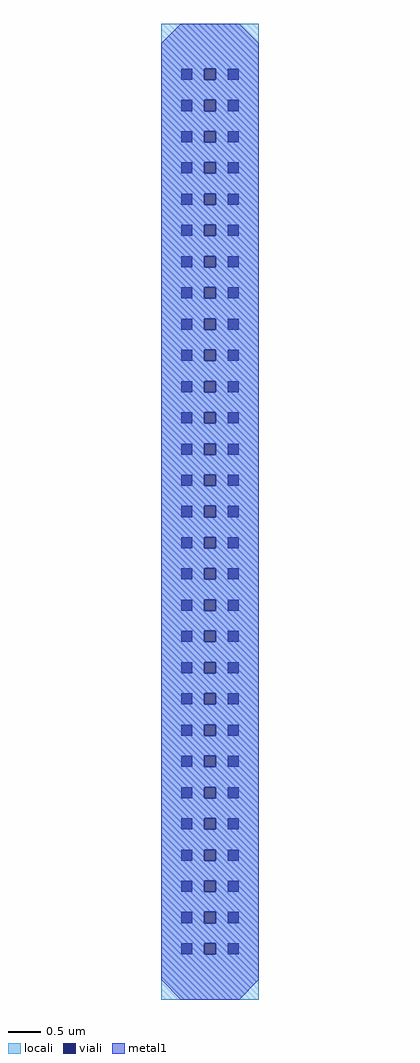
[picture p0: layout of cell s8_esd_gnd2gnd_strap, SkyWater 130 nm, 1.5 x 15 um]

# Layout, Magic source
magic
tech sky130B
magscale 1 2
<< locali >>
rect 0 2861 300 3000
rect 0 2827 133 2861
rect 167 2827 300 2861
rect 0 2765 300 2827
rect 0 2731 133 2765
rect 167 2731 300 2765
rect 0 2669 300 2731
rect 0 2635 133 2669
rect 167 2635 300 2669
rect 0 2573 300 2635
rect 0 2539 133 2573
rect 167 2539 300 2573
rect 0 2477 300 2539
rect 0 2443 133 2477
rect 167 2443 300 2477
rect 0 2381 300 2443
rect 0 2347 133 2381
rect 167 2347 300 2381
rect 0 2285 300 2347
rect 0 2251 133 2285
rect 167 2251 300 2285
rect 0 2189 300 2251
rect 0 2155 133 2189
rect 167 2155 300 2189
rect 0 2093 300 2155
rect 0 2059 133 2093
rect 167 2059 300 2093
rect 0 1997 300 2059
rect 0 1963 133 1997
rect 167 1963 300 1997
rect 0 1901 300 1963
rect 0 1867 133 1901
rect 167 1867 300 1901
rect 0 1805 300 1867
rect 0 1771 133 1805
rect 167 1771 300 1805
rect 0 1709 300 1771
rect 0 1675 133 1709
rect 167 1675 300 1709
rect 0 1613 300 1675
rect 0 1579 133 1613
rect 167 1579 300 1613
rect 0 1517 300 1579
rect 0 1483 133 1517
rect 167 1483 300 1517
rect 0 1421 300 1483
rect 0 1387 133 1421
rect 167 1387 300 1421
rect 0 1325 300 1387
rect 0 1291 133 1325
rect 167 1291 300 1325
rect 0 1229 300 1291
rect 0 1195 133 1229
rect 167 1195 300 1229
rect 0 1133 300 1195
rect 0 1099 133 1133
rect 167 1099 300 1133
rect 0 1037 300 1099
rect 0 1003 133 1037
rect 167 1003 300 1037
rect 0 941 300 1003
rect 0 907 133 941
rect 167 907 300 941
rect 0 845 300 907
rect 0 811 133 845
rect 167 811 300 845
rect 0 749 300 811
rect 0 715 133 749
rect 167 715 300 749
rect 0 653 300 715
rect 0 619 133 653
rect 167 619 300 653
rect 0 557 300 619
rect 0 523 133 557
rect 167 523 300 557
rect 0 461 300 523
rect 0 427 133 461
rect 167 427 300 461
rect 0 365 300 427
rect 0 331 133 365
rect 167 331 300 365
rect 0 269 300 331
rect 0 235 133 269
rect 167 235 300 269
rect 0 173 300 235
rect 0 139 133 173
rect 167 139 300 173
rect 0 0 300 139
<< viali >>
rect 133 2827 167 2861
rect 133 2731 167 2765
rect 133 2635 167 2669
rect 133 2539 167 2573
rect 133 2443 167 2477
rect 133 2347 167 2381
rect 133 2251 167 2285
rect 133 2155 167 2189
rect 133 2059 167 2093
rect 133 1963 167 1997
rect 133 1867 167 1901
rect 133 1771 167 1805
rect 133 1675 167 1709
rect 133 1579 167 1613
rect 133 1483 167 1517
rect 133 1387 167 1421
rect 133 1291 167 1325
rect 133 1195 167 1229
rect 133 1099 167 1133
rect 133 1003 167 1037
rect 133 907 167 941
rect 133 811 167 845
rect 133 715 167 749
rect 133 619 167 653
rect 133 523 167 557
rect 133 427 167 461
rect 133 331 167 365
rect 133 235 167 269
rect 133 139 167 173
<< metal1 >>
tri 0 2940 60 3000 se
rect 60 2940 240 3000
tri 240 2940 300 3000 sw
rect 0 2861 300 2940
rect 0 2827 133 2861
rect 167 2827 300 2861
rect 0 2765 300 2827
rect 0 2731 133 2765
rect 167 2731 300 2765
rect 0 2669 300 2731
rect 0 2635 133 2669
rect 167 2635 300 2669
rect 0 2573 300 2635
rect 0 2539 133 2573
rect 167 2539 300 2573
rect 0 2477 300 2539
rect 0 2443 133 2477
rect 167 2443 300 2477
rect 0 2381 300 2443
rect 0 2347 133 2381
rect 167 2347 300 2381
rect 0 2285 300 2347
rect 0 2251 133 2285
rect 167 2251 300 2285
rect 0 2189 300 2251
rect 0 2155 133 2189
rect 167 2155 300 2189
rect 0 2093 300 2155
rect 0 2059 133 2093
rect 167 2059 300 2093
rect 0 1997 300 2059
rect 0 1963 133 1997
rect 167 1963 300 1997
rect 0 1901 300 1963
rect 0 1867 133 1901
rect 167 1867 300 1901
rect 0 1805 300 1867
rect 0 1771 133 1805
rect 167 1771 300 1805
rect 0 1709 300 1771
rect 0 1675 133 1709
rect 167 1675 300 1709
rect 0 1613 300 1675
rect 0 1579 133 1613
rect 167 1579 300 1613
rect 0 1517 300 1579
rect 0 1483 133 1517
rect 167 1483 300 1517
rect 0 1421 300 1483
rect 0 1387 133 1421
rect 167 1387 300 1421
rect 0 1325 300 1387
rect 0 1291 133 1325
rect 167 1291 300 1325
rect 0 1229 300 1291
rect 0 1195 133 1229
rect 167 1195 300 1229
rect 0 1133 300 1195
rect 0 1099 133 1133
rect 167 1099 300 1133
rect 0 1037 300 1099
rect 0 1003 133 1037
rect 167 1003 300 1037
rect 0 941 300 1003
rect 0 907 133 941
rect 167 907 300 941
rect 0 845 300 907
rect 0 811 133 845
rect 167 811 300 845
rect 0 749 300 811
rect 0 715 133 749
rect 167 715 300 749
rect 0 653 300 715
rect 0 619 133 653
rect 167 619 300 653
rect 0 557 300 619
rect 0 523 133 557
rect 167 523 300 557
rect 0 461 300 523
rect 0 427 133 461
rect 167 427 300 461
rect 0 365 300 427
rect 0 331 133 365
rect 167 331 300 365
rect 0 269 300 331
rect 0 235 133 269
rect 167 235 300 269
rect 0 173 300 235
rect 0 139 133 173
rect 167 139 300 173
rect 0 60 300 139
tri 0 0 60 60 ne
rect 60 0 240 60
tri 240 0 300 60 nw
use L1M1_CDNS_55959141808683  L1M1_CDNS_55959141808683_0
transform 1 0 61 0 1 139
box -12 -6 190 2728
<< properties >>
string GDS_END 42971096
string GDS_FILE $PDKPATH/libs.ref/sky130_fd_io/gds/sky130_fd_io.gds
string GDS_START 42958020
<< end >>

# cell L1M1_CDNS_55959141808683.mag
magic
tech sky130B
<< locali >>
rect 17 1344 36 1361
rect 53 1344 72 1361
rect 0 1313 89 1344
rect 17 1296 36 1313
rect 53 1296 72 1313
rect 0 1265 89 1296
rect 17 1248 36 1265
rect 53 1248 72 1265
rect 0 1217 89 1248
rect 17 1200 36 1217
rect 53 1200 72 1217
rect 0 1169 89 1200
rect 17 1152 36 1169
rect 53 1152 72 1169
rect 0 1121 89 1152
rect 17 1104 36 1121
rect 53 1104 72 1121
rect 0 1073 89 1104
rect 17 1056 36 1073
rect 53 1056 72 1073
rect 0 1025 89 1056
rect 17 1008 36 1025
rect 53 1008 72 1025
rect 0 977 89 1008
rect 17 960 36 977
rect 53 960 72 977
rect 0 929 89 960
rect 17 912 36 929
rect 53 912 72 929
rect 0 881 89 912
rect 17 864 36 881
rect 53 864 72 881
rect 0 833 89 864
rect 17 816 36 833
rect 53 816 72 833
rect 0 785 89 816
rect 17 768 36 785
rect 53 768 72 785
rect 0 737 89 768
rect 17 720 36 737
rect 53 720 72 737
rect 0 689 89 720
rect 17 672 36 689
rect 53 672 72 689
rect 0 641 89 672
rect 17 624 36 641
rect 53 624 72 641
rect 0 593 89 624
rect 17 576 36 593
rect 53 576 72 593
rect 0 545 89 576
rect 17 528 36 545
rect 53 528 72 545
rect 0 497 89 528
rect 17 480 36 497
rect 53 480 72 497
rect 0 449 89 480
rect 17 432 36 449
rect 53 432 72 449
rect 0 401 89 432
rect 17 384 36 401
rect 53 384 72 401
rect 0 353 89 384
rect 17 336 36 353
rect 53 336 72 353
rect 0 305 89 336
rect 17 288 36 305
rect 53 288 72 305
rect 0 257 89 288
rect 17 240 36 257
rect 53 240 72 257
rect 0 209 89 240
rect 17 192 36 209
rect 53 192 72 209
rect 0 161 89 192
rect 17 144 36 161
rect 53 144 72 161
rect 0 113 89 144
rect 17 96 36 113
rect 53 96 72 113
rect 0 65 89 96
rect 17 48 36 65
rect 53 48 72 65
rect 0 17 89 48
rect 17 0 36 17
rect 53 0 72 17
<< viali >>
rect 0 1344 17 1361
rect 36 1344 53 1361
rect 72 1344 89 1361
rect 0 1296 17 1313
rect 36 1296 53 1313
rect 72 1296 89 1313
rect 0 1248 17 1265
rect 36 1248 53 1265
rect 72 1248 89 1265
rect 0 1200 17 1217
rect 36 1200 53 1217
rect 72 1200 89 1217
rect 0 1152 17 1169
rect 36 1152 53 1169
rect 72 1152 89 1169
rect 0 1104 17 1121
rect 36 1104 53 1121
rect 72 1104 89 1121
rect 0 1056 17 1073
rect 36 1056 53 1073
rect 72 1056 89 1073
rect 0 1008 17 1025
rect 36 1008 53 1025
rect 72 1008 89 1025
rect 0 960 17 977
rect 36 960 53 977
rect 72 960 89 977
rect 0 912 17 929
rect 36 912 53 929
rect 72 912 89 929
rect 0 864 17 881
rect 36 864 53 881
rect 72 864 89 881
rect 0 816 17 833
rect 36 816 53 833
rect 72 816 89 833
rect 0 768 17 785
rect 36 768 53 785
rect 72 768 89 785
rect 0 720 17 737
rect 36 720 53 737
rect 72 720 89 737
rect 0 672 17 689
rect 36 672 53 689
rect 72 672 89 689
rect 0 624 17 641
rect 36 624 53 641
rect 72 624 89 641
rect 0 576 17 593
rect 36 576 53 593
rect 72 576 89 593
rect 0 528 17 545
rect 36 528 53 545
rect 72 528 89 545
rect 0 480 17 497
rect 36 480 53 497
rect 72 480 89 497
rect 0 432 17 449
rect 36 432 53 449
rect 72 432 89 449
rect 0 384 17 401
rect 36 384 53 401
rect 72 384 89 401
rect 0 336 17 353
rect 36 336 53 353
rect 72 336 89 353
rect 0 288 17 305
rect 36 288 53 305
rect 72 288 89 305
rect 0 240 17 257
rect 36 240 53 257
rect 72 240 89 257
rect 0 192 17 209
rect 36 192 53 209
rect 72 192 89 209
rect 0 144 17 161
rect 36 144 53 161
rect 72 144 89 161
rect 0 96 17 113
rect 36 96 53 113
rect 72 96 89 113
rect 0 48 17 65
rect 36 48 53 65
rect 72 48 89 65
rect 0 0 17 17
rect 36 0 53 17
rect 72 0 89 17
<< metal1 >>
rect -6 1361 95 1364
rect -6 1344 0 1361
rect 17 1344 36 1361
rect 53 1344 72 1361
rect 89 1344 95 1361
rect -6 1313 95 1344
rect -6 1296 0 1313
rect 17 1296 36 1313
rect 53 1296 72 1313
rect 89 1296 95 1313
rect -6 1265 95 1296
rect -6 1248 0 1265
rect 17 1248 36 1265
rect 53 1248 72 1265
rect 89 1248 95 1265
rect -6 1217 95 1248
rect -6 1200 0 1217
rect 17 1200 36 1217
rect 53 1200 72 1217
rect 89 1200 95 1217
rect -6 1169 95 1200
rect -6 1152 0 1169
rect 17 1152 36 1169
rect 53 1152 72 1169
rect 89 1152 95 1169
rect -6 1121 95 1152
rect -6 1104 0 1121
rect 17 1104 36 1121
rect 53 1104 72 1121
rect 89 1104 95 1121
rect -6 1073 95 1104
rect -6 1056 0 1073
rect 17 1056 36 1073
rect 53 1056 72 1073
rect 89 1056 95 1073
rect -6 1025 95 1056
rect -6 1008 0 1025
rect 17 1008 36 1025
rect 53 1008 72 1025
rect 89 1008 95 1025
rect -6 977 95 1008
rect -6 960 0 977
rect 17 960 36 977
rect 53 960 72 977
rect 89 960 95 977
rect -6 929 95 960
rect -6 912 0 929
rect 17 912 36 929
rect 53 912 72 929
rect 89 912 95 929
rect -6 881 95 912
rect -6 864 0 881
rect 17 864 36 881
rect 53 864 72 881
rect 89 864 95 881
rect -6 833 95 864
rect -6 816 0 833
rect 17 816 36 833
rect 53 816 72 833
rect 89 816 95 833
rect -6 785 95 816
rect -6 768 0 785
rect 17 768 36 785
rect 53 768 72 785
rect 89 768 95 785
rect -6 737 95 768
rect -6 720 0 737
rect 17 720 36 737
rect 53 720 72 737
rect 89 720 95 737
rect -6 689 95 720
rect -6 672 0 689
rect 17 672 36 689
rect 53 672 72 689
rect 89 672 95 689
rect -6 641 95 672
rect -6 624 0 641
rect 17 624 36 641
rect 53 624 72 641
rect 89 624 95 641
rect -6 593 95 624
rect -6 576 0 593
rect 17 576 36 593
rect 53 576 72 593
rect 89 576 95 593
rect -6 545 95 576
rect -6 528 0 545
rect 17 528 36 545
rect 53 528 72 545
rect 89 528 95 545
rect -6 497 95 528
rect -6 480 0 497
rect 17 480 36 497
rect 53 480 72 497
rect 89 480 95 497
rect -6 449 95 480
rect -6 432 0 449
rect 17 432 36 449
rect 53 432 72 449
rect 89 432 95 449
rect -6 401 95 432
rect -6 384 0 401
rect 17 384 36 401
rect 53 384 72 401
rect 89 384 95 401
rect -6 353 95 384
rect -6 336 0 353
rect 17 336 36 353
rect 53 336 72 353
rect 89 336 95 353
rect -6 305 95 336
rect -6 288 0 305
rect 17 288 36 305
rect 53 288 72 305
rect 89 288 95 305
rect -6 257 95 288
rect -6 240 0 257
rect 17 240 36 257
rect 53 240 72 257
rect 89 240 95 257
rect -6 209 95 240
rect -6 192 0 209
rect 17 192 36 209
rect 53 192 72 209
rect 89 192 95 209
rect -6 161 95 192
rect -6 144 0 161
rect 17 144 36 161
rect 53 144 72 161
rect 89 144 95 161
rect -6 113 95 144
rect -6 96 0 113
rect 17 96 36 113
rect 53 96 72 113
rect 89 96 95 113
rect -6 65 95 96
rect -6 48 0 65
rect 17 48 36 65
rect 53 48 72 65
rect 89 48 95 65
rect -6 17 95 48
rect -6 0 0 17
rect 17 0 36 17
rect 53 0 72 17
rect 89 0 95 17
rect -6 -3 95 0
<< properties >>
string GDS_END 42957968
string GDS_FILE $PDKPATH/libs.ref/sky130_fd_io/gds/sky130_fd_io.gds
string GDS_START 42952268
<< end >>
